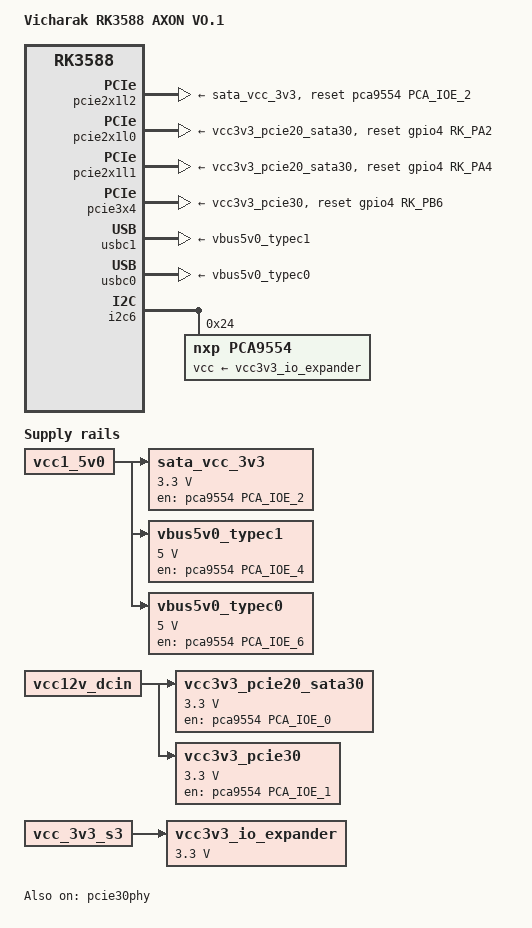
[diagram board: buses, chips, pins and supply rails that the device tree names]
// SPDX-License-Identifier: (GPL-2.0+ OR MIT)
/*
 * Copyright (C) 2023 Vicharak India
 */

/dts-v1/;

#include "rk3588-axon.dtsi"
#include "rk3588-axon-mipi-csi-dcphy0.dtsi"

/ {
	model = "Vicharak RK3588 AXON VO.1";
	compatible = "vicharak,rk3588-axon", "rockchip,rk3588";

	sata_vcc_3v3: sata-vcc-3v3 {
		compatible = "regulator-fixed";
		regulator-name = "sata_vcc_3v3";
		regulator-min-microvolt = <3300000>;
		regulator-max-microvolt = <3300000>;
		startup-delay-us = <5000>;
		regulator-boot-on;
		regulator-always-on;
		enable-active-high;
		gpio = <&pca9554 PCA_IOE_2 GPIO_ACTIVE_HIGH>;
		vin-supply = <&vcc1_5v0>;
	};

	vcc3v3_pcie20_sata30: vcc3v3-pcie20-sata30 {
		compatible = "regulator-fixed";
		regulator-name = "vcc3v3_pcie20_sata30";
		regulator-min-microvolt = <3300000>;
		regulator-max-microvolt = <3300000>;
		startup-delay-us = <5000>;
		regulator-boot-on;
		regulator-always-on;
		enable-active-high;
		gpio = <&pca9554 PCA_IOE_0 GPIO_ACTIVE_HIGH>;
		vin-supply = <&vcc12v_dcin>;
	};

	vcc3v3_pcie30: vcc3v3-pcie30 {
		compatible = "regulator-fixed";
		regulator-name = "vcc3v3_pcie30";
		regulator-min-microvolt = <3300000>;
		regulator-max-microvolt = <3300000>;
		startup-delay-us = <5000>;
		regulator-boot-on;
		regulator-always-on;
		enable-active-high;
		gpio = <&pca9554 PCA_IOE_1 GPIO_ACTIVE_HIGH>;
		vin-supply = <&vcc12v_dcin>;
	};

	vbus5v0_typec1: vbus5v0-typec1-regulator {
		compatible = "regulator-fixed";
		regulator-name = "vbus5v0_typec1";
		regulator-min-microvolt = <5000000>;
		regulator-max-microvolt = <5000000>;
		enable-active-high;
		gpio = <&pca9554 PCA_IOE_4 GPIO_ACTIVE_HIGH>;
		vin-supply = <&vcc1_5v0>;
	};

	vbus5v0_typec0: vbus5v0-typec0-regulator {
		compatible = "regulator-fixed";
		regulator-name = "vbus5v0_typec0";
		regulator-min-microvolt = <5000000>;
		regulator-max-microvolt = <5000000>;
		enable-active-high;
		gpio = <&pca9554 PCA_IOE_6 GPIO_ACTIVE_HIGH>;
		vin-supply = <&vcc1_5v0>;
	};

	vcc3v3_io_expander: vcc3v3-io-expander {
		compatible = "regulator-fixed";
		regulator-name = "vcc3v3_io_expander";
		regulator-min-microvolt = <3300000>;
		regulator-max-microvolt = <3300000>;
		regulator-boot-on;
		regulator-always-on;
		enable-active-high;
		vin-supply = <&vcc_3v3_s3>;
	};
};

// PCIE: {{{
// fe190000: Standard SATA only (PCIE20_0)
&pcie2x1l2 {
	reset-gpios = <&pca9554 PCA_IOE_2 GPIO_ACTIVE_HIGH>;
	vpcie3v3-supply = <&sata_vcc_3v3>;
	status = "okay";
};

// fe170000: (PCIE20_2)
&pcie2x1l0 {
	reset-gpios = <&gpio4 RK_PA2 GPIO_ACTIVE_HIGH>;
	vpcie3v3-supply = <&vcc3v3_pcie20_sata30>;
	status = "okay";
};

// fe180000: (PCIE20_1) Tested sata2
&pcie2x1l1 {
	reset-gpios = <&gpio4 RK_PA4 GPIO_ACTIVE_HIGH>;
	vpcie3v3-supply = <&vcc3v3_pcie20_sata30>;
	status = "okay";
};

// PCIE 3.0 - 4 slots: {{{
&pcie30phy {
	status = "okay";
};

// fe150000: PCIE 3.0
&pcie3x4 {
	reset-gpios = <&gpio4 RK_PB6 GPIO_ACTIVE_HIGH>;
	vpcie3v3-supply = <&vcc3v3_pcie30>;
	status = "okay";
};
// End of PCIE 3.0 - 4 slots }}}
// End of PCIE }}}

// FUSB302 USB Type-C 1
&usbc1 {
	vbus-supply = <&vbus5v0_typec1>;
};

// FUSB302 USB Type-C 0
&usbc0 {
	vbus-supply = <&vbus5v0_typec0>;
};

&i2c6 {
	// PCA9554 GPIO Expander
	pca9554: gpio@24 {
		compatible = "nxp,pca9554";
		reg = <0x24>;
		vcc-supply = <&vcc3v3_io_expander>;
		gpio-controller;
		#gpio-cells = <2>;
		gpio-group-num = <300>;
		status = "okay";
	};
};
